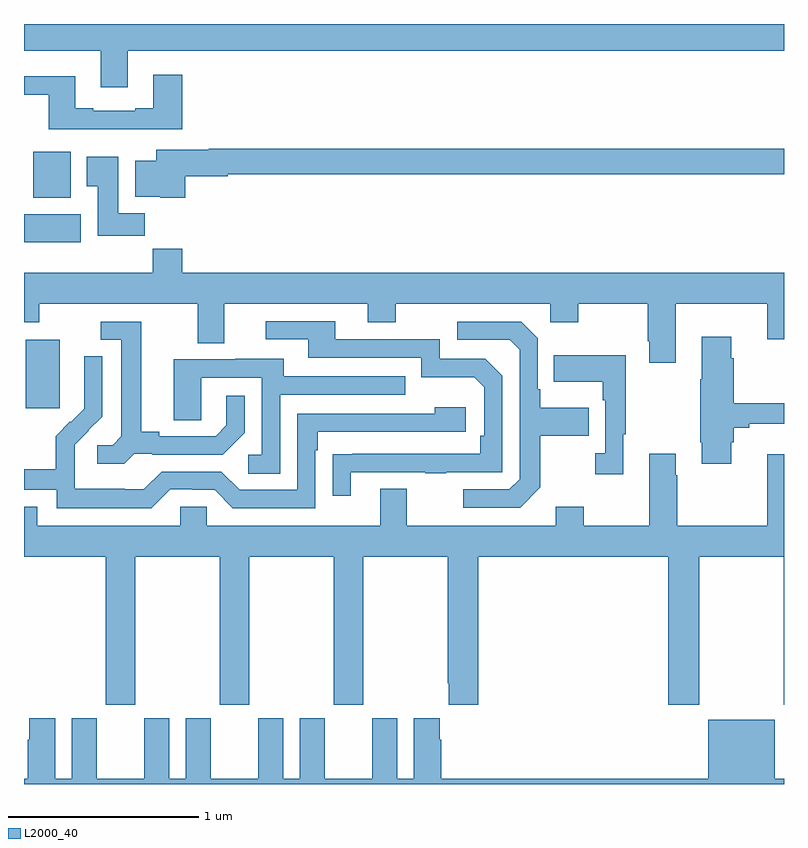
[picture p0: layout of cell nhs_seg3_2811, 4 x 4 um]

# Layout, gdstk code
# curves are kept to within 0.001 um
import gdstk
lib = gdstk.Library(unit=1e-6, precision=1e-09)
def R(c, l, rs):  # rectangles x0, y0, x1, y1
    for r in rs: c.add(gdstk.rectangle(r[:2], r[2:], *l))
def P(c, l, *ps):  # polygons
    for p in ps: c.add(gdstk.Polygon(p, *l))
L2000_40 = (2000, 40)

nhs_seg3_2811 = lib.new_cell('nhs_seg3_2811')
R(nhs_seg3_2811, L2000_40, [(257.009,688.377,257.188,688.738), (257,689.252,257.299,689.398), (257.048,689.486,257.245,689.728)])
P(nhs_seg3_2811, L2000_40, [(257.545,690.26),(261,690.26),(261,690.4),(257,690.4),(257,690.26),(257.405,690.26),(257.405,690.066),(257.545,690.066)],
  [(257.834,690.133),(257.681,690.133),(257.681,689.956),(257.585,689.956),(257.585,689.943),(257.365,689.943),(257.365,689.956),(257.269,689.956),(257.269,690.124),(257,690.124),(257,690.027),(257.129,690.027),(257.129,689.846),(257.834,689.846)],
  [(257.849,689.6),(258.072,689.6),(258.072,689.608),(261,689.608),(261,689.744),(257.972,689.744),(257.972,689.737),(257.696,689.737),(257.696,689.68),(257.585,689.68),(257.585,689.492),(257.718,689.492),(257.718,689.486),(257.849,689.486)],
  [(257.636,689.404),(257.497,689.404),(257.497,689.701),(257.33,689.701),(257.33,689.545),(257.387,689.545),(257.387,689.286),(257.636,689.286)],
  [(260.431,688.928),(260.912,688.928),(260.912,688.74),(261,688.74),(261,689.092),(257.834,689.092),(257.834,689.216),(257.677,689.216),(257.677,689.092),(257,689.092),(257,688.829),(257.079,688.829),(257.079,688.928),(257.915,688.928),(257.915,688.72),(258.055,688.72),(258.055,688.928),(258.809,688.928),(258.809,688.829),(258.957,688.829),(258.957,688.928),(259.77,688.928),(259.77,688.829),(259.916,688.829),(259.916,688.928),(260.284,688.928),(260.284,688.729),(260.291,688.729),(260.291,688.617),(260.431,688.617)],
  [(258.721,688.041),(259.111,688.041),(259.111,688.036),(259.223,688.036),(259.223,688.041),(259.518,688.041),(259.518,688.548),(259.428,688.638),(259.188,688.638),(259.188,688.74),(258.637,688.74),(258.637,688.836),(258.273,688.836),(258.273,688.74),(258.497,688.74),(258.497,688.644),(259.092,688.644),(259.092,688.541),(259.369,688.541),(259.422,688.488),(259.422,688.234),(259.402,688.234),(259.402,688.137),(258.625,688.136),(258.625,687.918),(258.721,687.918)],
  [(257.58,688.137),(257.674,688.137),(257.674,688.134),(258.046,688.134),(258.162,688.25),(258.162,688.444),(258.065,688.444),(258.065,688.287),(258.008,688.23),(257.713,688.23),(257.713,688.253),(257.617,688.253),(257.617,688.833),(257.403,688.833),(257.403,688.737),(257.513,688.737),(257.513,688.229),(257.466,688.182),(257.385,688.182),(257.385,688.085),(257.528,688.085)],
  [(259.717,687.961),(259.717,688.234),(259.973,688.234),(259.973,688.381),(259.717,688.381),(259.717,688.477),(259.704,688.477),(259.704,688.746),(259.617,688.833),(259.281,688.833),(259.281,688.737),(259.557,688.737),(259.608,688.686),(259.608,688.005),(259.554,687.951),(259.311,687.951),(259.311,687.855),(259.611,687.855)],
  [(260.722,688.199),(260.735,688.199),(260.735,688.276),(260.818,688.276),(260.818,688.295),(261,688.295),(261,688.405),(260.735,688.405),(260.735,688.64),(260.722,688.64),(260.722,688.753),(260.567,688.753),(260.567,688.529),(260.56,688.529),(260.56,688.198),(260.567,688.198),(260.567,688.086),(260.722,688.086)],
  [(260.155,688.241),(260.166,688.241),(260.166,688.657),(259.789,688.657),(259.789,688.517),(260.046,688.517),(260.046,688.421),(260.058,688.421),(260.058,688.142),(260.007,688.142),(260.007,688.029),(260.155,688.029)],
  [(257.769,687.951),(257.885,687.951),(257.885,687.948),(258.003,687.948),(258.099,687.852),(258.534,687.852),(258.534,688.157),(258.547,688.157),(258.547,688.254),(259.324,688.254),(259.324,688.384),(259.163,688.384),(259.163,688.35),(258.438,688.35),(258.438,687.948),(258.135,687.948),(258.039,688.044),(257.724,688.044),(257.631,687.951),(257.531,687.951),(257.531,687.955),(257.268,687.955),(257.268,688.089),(257.266,688.089),(257.266,688.186),(257.412,688.334),(257.412,688.652),(257.316,688.652),(257.316,688.498),(257.318,688.498),(257.318,688.376),(257.247,688.305),(257.244,688.308),(257.167,688.231),(257.167,688.057),(257,688.057),(257,687.948),(257.172,687.948),(257.172,687.851),(257.669,687.851)],
  [(258.348,688.449),(259.007,688.449),(259.007,688.545),(258.367,688.545),(258.367,688.639),(258.113,688.639),(258.113,688.635),(257.789,688.635),(257.789,688.315),(257.934,688.315),(257.934,688.539),(258.252,688.539),(258.252,688.134),(258.18,688.134),(258.18,688.033),(258.348,688.033)],
  [(257.586,687.596),(258.031,687.596),(258.031,686.817),(258.186,686.817),(258.186,687.596),(258.631,687.596),(258.631,686.817),(258.786,686.817),(258.786,687.596),(259.231,687.596),(259.231,686.929),(259.235,686.929),(259.235,686.817),(259.391,686.817),(259.391,687.596),(260.392,687.596),(260.392,686.817),(260.553,686.817),(260.553,687.596),(260.998,687.596),(260.998,686.817),(261,686.817),(261,688.135),(260.912,688.135),(260.912,687.76),(260.439,687.76),(260.439,688.025),(260.431,688.025),(260.431,688.138),(260.291,688.138),(260.291,687.76),(259.947,687.76),(259.947,687.859),(259.799,687.859),(259.799,687.76),(259.015,687.76),(259.015,687.955),(258.875,687.955),(258.875,687.76),(257.961,687.76),(257.961,687.858),(257.823,687.858),(257.823,687.76),(257.071,687.76),(257.071,687.859),(257,687.859),(257,687.596),(257.431,687.596),(257.431,686.817),(257.586,686.817)],
  [(260.6,686.737),(260.6,686.428),(259.196,686.428),(259.196,686.633),(259.189,686.633),(259.189,686.746),(259.052,686.746),(259.052,686.428),(258.964,686.428),(258.964,686.746),(258.833,686.746),(258.833,686.428),(258.583,686.428),(258.583,686.746),(258.452,686.746),(258.452,686.428),(258.364,686.428),(258.364,686.746),(258.233,686.746),(258.233,686.428),(257.983,686.428),(257.983,686.746),(257.852,686.746),(257.852,686.428),(257.764,686.428),(257.764,686.746),(257.633,686.746),(257.633,686.428),(257.383,686.428),(257.383,686.746),(257.252,686.746),(257.252,686.428),(257.164,686.428),(257.164,686.746),(257.027,686.746),(257.027,686.633),(257.021,686.633),(257.021,686.428),(257,686.428),(257,686.4),(261,686.4),(261,686.428),(260.95,686.428),(260.95,686.737)])

lib.write_gds('nhs_seg3_2811.gds')
